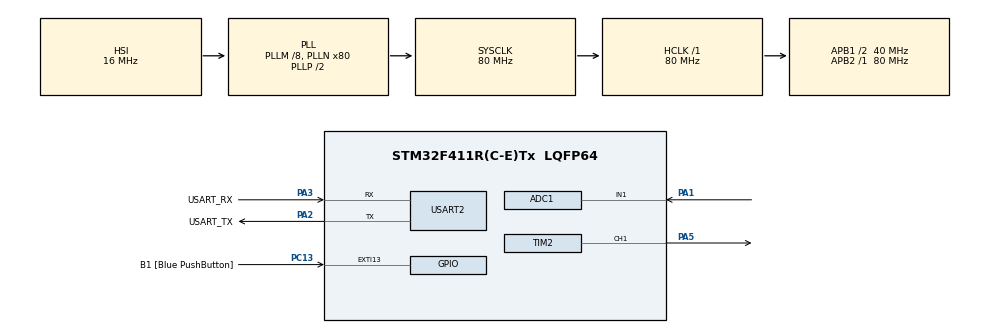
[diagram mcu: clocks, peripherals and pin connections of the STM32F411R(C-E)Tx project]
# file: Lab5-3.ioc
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ADC1.Channel-0\#ChannelRegularConversion=ADC_CHANNEL_1
ADC1.NbrOfConversionFlag=1
ADC1.Rank-0\#ChannelRegularConversion=1
ADC1.SamplingTime-0\#ChannelRegularConversion=ADC_SAMPLETIME_3CYCLES
ADC1.master=1
Mcu.Family=STM32F4
Mcu.Name=STM32F411R(C-E)Tx
Mcu.Package=LQFP64
NVIC.PriorityGroup=NVIC_PRIORITYGROUP_0
PA1.Signal=ADCx_IN1
PA13.GPIO_Label=TMS
PA13.Mode=Serial_Wire
PA13.Signal=SYS_JTMS-SWDIO
PA14.GPIO_Label=TCK
PA14.Mode=Serial_Wire
PA14.Signal=SYS_JTCK-SWCLK
PA2.GPIO_Label=USART_TX
PA2.Mode=Asynchronous
PA2.Signal=USART2_TX
PA3.GPIO_Label=USART_RX
PA3.Mode=Asynchronous
PA3.Signal=USART2_RX
PA5.Signal=S_TIM2_CH1_ETR
PB3.GPIO_Label=SWO
PB3.Signal=SYS_JTDO-SWO
PC13-ANTI_TAMP.GPIO_Label=B1 [Blue PushButton]
PC13-ANTI_TAMP.GPIO_ModeDefaultEXTI=GPIO_MODE_IT_FALLING
PC13-ANTI_TAMP.Signal=GPXTI13
PC14-OSC32_IN.Mode=LSE-External-Oscillator
PC14-OSC32_IN.Signal=RCC_OSC32_IN
PC15-OSC32_OUT.Mode=LSE-External-Oscillator
PC15-OSC32_OUT.Signal=RCC_OSC32_OUT
PH0\ -\ OSC_IN.Mode=HSE-External-Clock-Source
PH0\ -\ OSC_IN.Signal=RCC_OSC_IN
PH1\ -\ OSC_OUT.Mode=HSE-External-Clock-Source
PH1\ -\ OSC_OUT.Signal=RCC_OSC_OUT
ProjectManager.HeapSize=0x200
ProjectManager.StackSize=0x400
ProjectManager.TargetToolchain=STM32CubeIDE
RCC.48MHZClocksFreq_Value=40000000
RCC.AHBFreq_Value=80000000
RCC.APB1CLKDivider=RCC_HCLK_DIV2
RCC.APB1Freq_Value=40000000
RCC.APB1TimFreq_Value=80000000
RCC.APB2Freq_Value=80000000
RCC.APB2TimFreq_Value=80000000
RCC.CortexFreq_Value=80000000
RCC.FLatency-AdvancedSettings=FLASH_LATENCY_2
RCC.HCLKFreq_Value=80000000
RCC.HSE_VALUE=8000000
RCC.HSI_VALUE=16000000
RCC.PLLM=8
RCC.PLLN=80
RCC.SYSCLKFreq_VALUE=80000000
RCC.SYSCLKSource=RCC_SYSCLKSOURCE_PLLCLK
RCC.VCOOutputFreq_Value=160000000
SH.ADCx_IN1.0=ADC1_IN1,IN1
SH.S_TIM2_CH1_ETR.0=TIM2_CH1,PWM Generation1 CH1
TIM2.Channel-PWM\ Generation1\ CH1=TIM_CHANNEL_1
TIM2.Period=99
TIM2.Prescaler=79
USART2.VirtualMode=VM_ASYNC
VP_TIM2_VS_ClockSourceINT.Mode=Internal
board=NUCLEO-F411RE

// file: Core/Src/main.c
/* USER CODE BEGIN Header */
/**
 ******************************************************************************
 * @file           : main.c
 * @brief          : Main program body
 ******************************************************************************
 * @attention
 *
 * <h2><center>&copy; Copyright (c) 2021 STMicroelectronics.
 * All rights reserved.</center></h2>
 *
 * This software component is licensed by ST under BSD 3-Clause license,
 * the "License"; You may not use this file except in compliance with the
 * License. You may obtain a copy of the License at:
 *                        opensource.org/licenses/BSD-3-Clause
 *
 ******************************************************************************
 */
/* USER CODE END Header */
#include "main.h"

ADC_HandleTypeDef hadc1;

TIM_HandleTypeDef htim2;

UART_HandleTypeDef huart2;

void SystemClock_Config(void);
static void MX_GPIO_Init(void);
static void MX_USART2_UART_Init(void);
static void MX_ADC1_Init(void);
static void MX_TIM2_Init(void);

/* USER CODE BEGIN 0 */
char a[1000];
int AD_RES = 0, Vamb, DC_Multiplier;
/* USER CODE END 0 */

int main(void) {

	/* MCU Configuration--------------------------------------------------------*/

	/* Reset of all peripherals, Initializes the Flash interface and the Systick. */
	HAL_Init();

	/* Configure the system clock */
	SystemClock_Config();

	/* Initialize all configured peripherals */
	MX_GPIO_Init();
	MX_USART2_UART_Init();
	MX_ADC1_Init();
	MX_TIM2_Init();
	/* USER CODE BEGIN 2 */
	HAL_TIM_PWM_Start(&htim2, TIM_CHANNEL_1);
	/* USER CODE END 2 */

	/* Infinite loop */
	/* USER CODE BEGIN WHILE */
	int mx = 1800, mn = 400;
	while (1) {
		HAL_ADC_Start(&hadc1);
		HAL_ADC_PollForConversion(&hadc1, 1);
		AD_RES = HAL_ADC_GetValue(&hadc1);
		sprintf(a, "p %d\n\r", AD_RES);
		HAL_UART_Transmit(&huart2, a, sizeof(a), 100);
		int P = mn - mx;
		float C = mn - AD_RES;

		float CC = (1 - C / P) * 100;
		if (CC < 0)
			CC = 0;
		if (CC > 100)
			CC = 100;

		TIM2->CCR1 = CC;

		HAL_Delay(1);
		/* USER CODE END WHILE */

	}
}

void SystemClock_Config(void) {
	RCC_OscInitTypeDef RCC_OscInitStruct = { 0 };
	RCC_ClkInitTypeDef RCC_ClkInitStruct = { 0 };

	/** Configure the main internal regulator output voltage
	 */
	__HAL_RCC_PWR_CLK_ENABLE();
	__HAL_PWR_VOLTAGESCALING_CONFIG(PWR_REGULATOR_VOLTAGE_SCALE1);
	/** Initializes the RCC Oscillators according to the specified parameters
	 * in the RCC_OscInitTypeDef structure.
	 */
	RCC_OscInitStruct.OscillatorType = RCC_OSCILLATORTYPE_HSI;
	RCC_OscInitStruct.HSIState = RCC_HSI_ON;
	RCC_OscInitStruct.HSICalibrationValue = RCC_HSICALIBRATION_DEFAULT;
	RCC_OscInitStruct.PLL.PLLState = RCC_PLL_ON;
	RCC_OscInitStruct.PLL.PLLSource = RCC_PLLSOURCE_HSI;
	RCC_OscInitStruct.PLL.PLLM = 8;
	RCC_OscInitStruct.PLL.PLLN = 80;
	RCC_OscInitStruct.PLL.PLLP = RCC_PLLP_DIV2;
	RCC_OscInitStruct.PLL.PLLQ = 4;
	if (HAL_RCC_OscConfig(&RCC_OscInitStruct) != HAL_OK) {
		Error_Handler();
	}
	/** Initializes the CPU, AHB and APB buses clocks
	 */
	RCC_ClkInitStruct.ClockType = RCC_CLOCKTYPE_HCLK | RCC_CLOCKTYPE_SYSCLK
			| RCC_CLOCKTYPE_PCLK1 | RCC_CLOCKTYPE_PCLK2;
	RCC_ClkInitStruct.SYSCLKSource = RCC_SYSCLKSOURCE_PLLCLK;
	RCC_ClkInitStruct.AHBCLKDivider = RCC_SYSCLK_DIV1;
	RCC_ClkInitStruct.APB1CLKDivider = RCC_HCLK_DIV2;
	RCC_ClkInitStruct.APB2CLKDivider = RCC_HCLK_DIV1;

	if (HAL_RCC_ClockConfig(&RCC_ClkInitStruct, FLASH_LATENCY_2) != HAL_OK) {
		Error_Handler();
	}
}

static void MX_ADC1_Init(void) {

	ADC_ChannelConfTypeDef sConfig = { 0 };

	/** Configure the global features of the ADC (Clock, Resolution, Data Alignment and number of conversion)
	 */
	hadc1.Instance = ADC1;
	hadc1.Init.ClockPrescaler = ADC_CLOCK_SYNC_PCLK_DIV4;
	hadc1.Init.Resolution = ADC_RESOLUTION_12B;
	hadc1.Init.ScanConvMode = DISABLE;
	hadc1.Init.ContinuousConvMode = DISABLE;
	hadc1.Init.DiscontinuousConvMode = DISABLE;
	hadc1.Init.ExternalTrigConvEdge = ADC_EXTERNALTRIGCONVEDGE_NONE;
	hadc1.Init.ExternalTrigConv = ADC_SOFTWARE_START;
	hadc1.Init.DataAlign = ADC_DATAALIGN_RIGHT;
	hadc1.Init.NbrOfConversion = 1;
	hadc1.Init.DMAContinuousRequests = DISABLE;
	hadc1.Init.EOCSelection = ADC_EOC_SINGLE_CONV;
	if (HAL_ADC_Init(&hadc1) != HAL_OK) {
		Error_Handler();
	}
	/** Configure for the selected ADC regular channel its corresponding rank in the sequencer and its sample time.
	 */
	sConfig.Channel = ADC_CHANNEL_1;
	sConfig.Rank = 1;
	sConfig.SamplingTime = ADC_SAMPLETIME_3CYCLES;
	if (HAL_ADC_ConfigChannel(&hadc1, &sConfig) != HAL_OK) {
		Error_Handler();
	}

}

static void MX_TIM2_Init(void) {

	TIM_ClockConfigTypeDef sClockSourceConfig = { 0 };
	TIM_MasterConfigTypeDef sMasterConfig = { 0 };
	TIM_OC_InitTypeDef sConfigOC = { 0 };

	htim2.Instance = TIM2;
	htim2.Init.Prescaler = 79;
	htim2.Init.CounterMode = TIM_COUNTERMODE_UP;
	htim2.Init.Period = 99;
	htim2.Init.ClockDivision = TIM_CLOCKDIVISION_DIV1;
	htim2.Init.AutoReloadPreload = TIM_AUTORELOAD_PRELOAD_DISABLE;
	if (HAL_TIM_Base_Init(&htim2) != HAL_OK) {
		Error_Handler();
	}
	sClockSourceConfig.ClockSource = TIM_CLOCKSOURCE_INTERNAL;
	if (HAL_TIM_ConfigClockSource(&htim2, &sClockSourceConfig) != HAL_OK) {
		Error_Handler();
	}
	if (HAL_TIM_PWM_Init(&htim2) != HAL_OK) {
		Error_Handler();
	}
	sMasterConfig.MasterOutputTrigger = TIM_TRGO_RESET;
	sMasterConfig.MasterSlaveMode = TIM_MASTERSLAVEMODE_DISABLE;
	if (HAL_TIMEx_MasterConfigSynchronization(&htim2, &sMasterConfig)
			!= HAL_OK) {
		Error_Handler();
	}
	sConfigOC.OCMode = TIM_OCMODE_PWM1;
	sConfigOC.Pulse = 0;
	sConfigOC.OCPolarity = TIM_OCPOLARITY_HIGH;
	sConfigOC.OCFastMode = TIM_OCFAST_DISABLE;
	if (HAL_TIM_PWM_ConfigChannel(&htim2, &sConfigOC, TIM_CHANNEL_1)
			!= HAL_OK) {
		Error_Handler();
	}
	HAL_TIM_MspPostInit(&htim2);

}

static void MX_USART2_UART_Init(void) {

	huart2.Instance = USART2;
	huart2.Init.BaudRate = 115200;
	huart2.Init.WordLength = UART_WORDLENGTH_8B;
	huart2.Init.StopBits = UART_STOPBITS_1;
	huart2.Init.Parity = UART_PARITY_NONE;
	huart2.Init.Mode = UART_MODE_TX_RX;
	huart2.Init.HwFlowCtl = UART_HWCONTROL_NONE;
	huart2.Init.OverSampling = UART_OVERSAMPLING_16;
	if (HAL_UART_Init(&huart2) != HAL_OK) {
		Error_Handler();
	}

}

static void MX_GPIO_Init(void) {
	GPIO_InitTypeDef GPIO_InitStruct = { 0 };

	/* GPIO Ports Clock Enable */
	__HAL_RCC_GPIOC_CLK_ENABLE();
	__HAL_RCC_GPIOH_CLK_ENABLE();
	__HAL_RCC_GPIOA_CLK_ENABLE();
	__HAL_RCC_GPIOB_CLK_ENABLE();

	/*Configure GPIO pin : B1_Pin */
	GPIO_InitStruct.Pin = B1_Pin;
	GPIO_InitStruct.Mode = GPIO_MODE_IT_FALLING;
	GPIO_InitStruct.Pull = GPIO_NOPULL;
	HAL_GPIO_Init(B1_GPIO_Port, &GPIO_InitStruct);

}

void Error_Handler(void) {
	__disable_irq();
	while (1) {
	}
}

/************************ (C) COPYRIGHT STMicroelectronics *****END OF FILE****/
